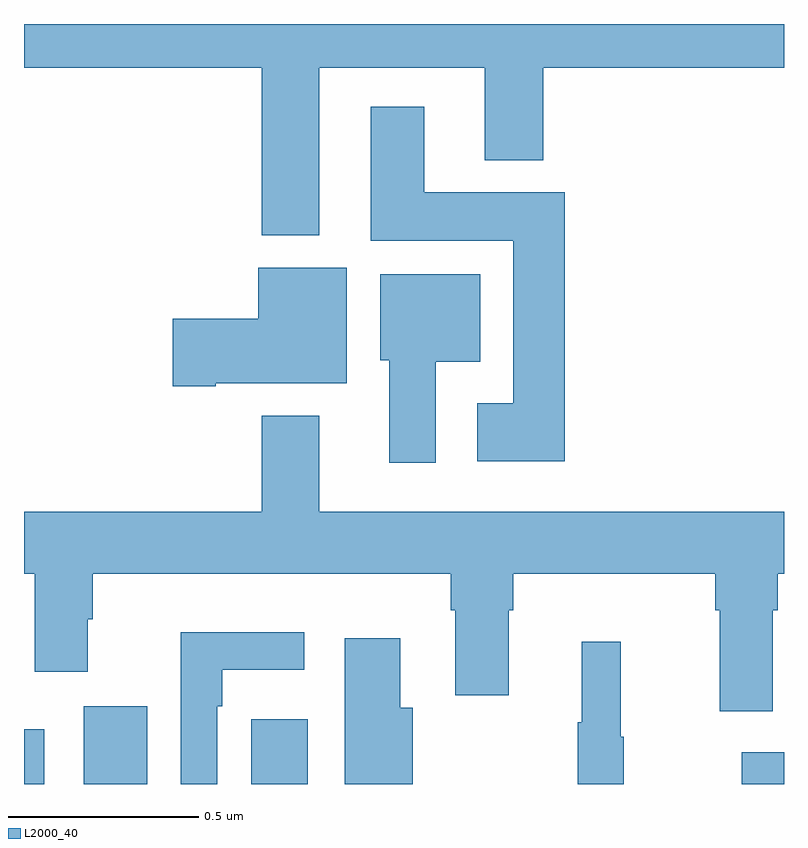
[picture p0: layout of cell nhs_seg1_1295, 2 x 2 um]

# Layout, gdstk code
import gdstk
lib = gdstk.Library(unit=1e-6, precision=1e-09)
def R(c, l, rs):  # rectangles x0, y0, x1, y1
    for r in rs: c.add(gdstk.rectangle(r[:2], r[2:], *l))
def P(c, l, *ps):  # polygons
    for p in ps: c.add(gdstk.Polygon(p, *l))
L2000_40 = (2000, 40)

nhs_seg1_1295 = lib.new_cell('nhs_seg1_1295')
R(nhs_seg1_1295, L2000_40, [(127,531.199,127.053,531.343), (127.157,531.199,127.324,531.403), (127.598,531.199,127.747,531.37), (128.889,531.199,129,531.283)])
P(nhs_seg1_1295, L2000_40, [(127.777,533.084),(128.213,533.084),(128.213,532.841),(128.366,532.841),(128.366,533.084),(129,533.084),(129,533.199),(127,533.199),(127,533.084),(127.625,533.084),(127.625,532.643),(127.777,532.643)],
  [(128.423,532.756),(128.053,532.756),(128.053,532.981),(127.913,532.981),(127.913,532.628),(128.288,532.628),(128.288,532.201),(128.193,532.201),(128.193,532.049),(128.423,532.049)],
  [(127.504,532.253),(127.849,532.253),(127.849,532.558),(127.616,532.558),(127.616,532.424),(127.392,532.424),(127.392,532.246),(127.504,532.246)],
  [(128.083,532.31),(128.2,532.31),(128.2,532.54),(127.937,532.54),(127.937,532.314),(127.961,532.314),(127.961,532.044),(128.083,532.044)],
  [(128.971,531.656),(128.983,531.656),(128.983,531.752),(129,531.752),(129,531.916),(127.777,531.916),(127.777,532.168),(127.625,532.168),(127.625,531.916),(127,531.916),(127,531.752),(127.028,531.752),(127.028,531.495),(127.168,531.495),(127.168,531.632),(127.181,531.632),(127.181,531.752),(128.123,531.752),(128.123,531.656),(128.135,531.656),(128.135,531.432),(128.275,531.432),(128.275,531.656),(128.288,531.656),(128.288,531.752),(128.819,531.752),(128.819,531.656),(128.831,531.656),(128.831,531.39),(128.971,531.39)],
  [(127.509,531.404),(127.522,531.404),(127.522,531.5),(127.738,531.5),(127.738,531.598),(127.413,531.598),(127.413,531.199),(127.509,531.199)],
  [(128.023,531.4),(127.99,531.4),(127.99,531.583),(127.844,531.583),(127.844,531.199),(128.023,531.199)],
  [(128.578,531.324),(128.57,531.324),(128.57,531.574),(128.468,531.574),(128.468,531.361),(128.457,531.361),(128.457,531.199),(128.578,531.199)])

lib.write_gds('nhs_seg1_1295.gds')
